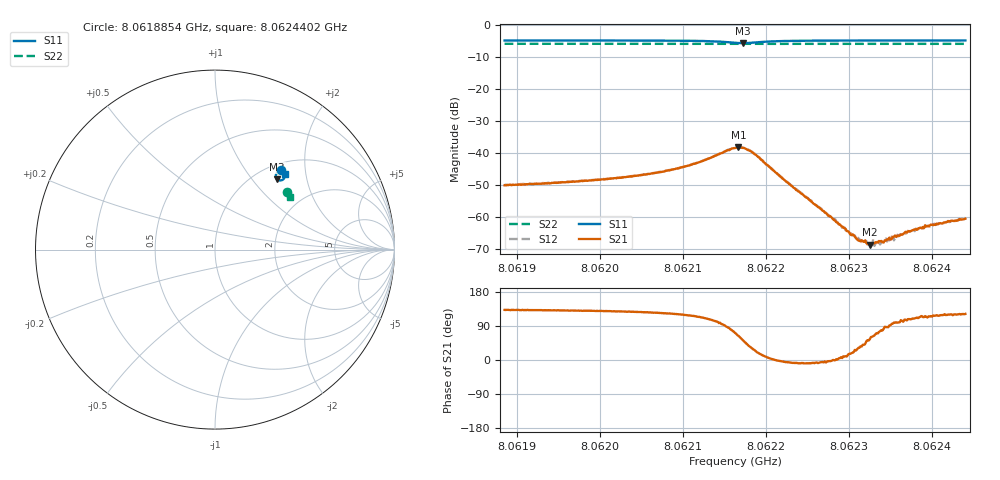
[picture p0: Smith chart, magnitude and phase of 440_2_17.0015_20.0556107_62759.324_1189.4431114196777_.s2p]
#  HZ  S  RI  R  50.00
! Rohde & Schwarz Vector Network Analyzer
! Rohde-Schwarz,ZNB20-2Port,1311601062101988,3.16
! Created: UTC 3/20/2024, 11:11:49 PM
! freq[Hz]  re:S11  im:S11  re:S21  im:S21  re:S12  im:S12  re:S22  im:S22
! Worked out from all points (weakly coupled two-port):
!   401 points, 8.0618854 GHz to 8.0624402 GHz, reference 50 ohm
!   highest |S21| = -38.19 dB at 8.062167 GHz (marker M1); lowest = -68.6 dB at 8.0623251 GHz (marker M2)
!   lowest |S11| = -5.6 dB at 8.0621725 GHz (marker M3), VSWR 3.19, Z = 62.6 + j67.5 ohm
!   |S11| at or under -10 dB: nowhere
!   |S22| runs from -5.9 to -5.8 dB; largest |S21 - S12| = 0.0009
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8.06188539e9  0.3696 0.4419  -0.00213 0.00234  -0.00201 0.0025  0.3997 0.3183
8.06197832e9  0.3764 0.4357  -0.00238 0.00284  -0.0022 0.00299  0.4031 0.3135
8.06202132e9  0.3799 0.4319  -0.00256 0.00323  -0.00238 0.00343  0.4046 0.3112
8.06207125e9  0.3845 0.4258  -0.00285 0.00417  -0.00261 0.00439  0.4065 0.3083
8.06211702e9  0.3886 0.4135  -0.00293 0.00641  -0.00254 0.00665  0.4081 0.3057
8.06216279e9  0.3637 0.3852  0.00379 0.0114  0.00452 0.0114  0.4082 0.3028
8.06216695e9  0.3562 0.3863  0.00545 0.011  0.00611 0.0108  0.4079 0.3026
8.0621725e9  0.3469 0.3915  0.00743 0.00953  0.00805 0.00917  0.4077 0.3027
8.06217944e9  0.3398 0.4026  0.00887 0.00667  0.00931 0.00633  0.4078 0.303
8.06218914e9  0.3399 0.4182  0.00856 0.00323  0.00869 0.00289  0.4084 0.3031
8.06222382e9  0.3611 0.4354  0.00365 -0.000361  0.00366 -0.000591  0.4109 0.302
8.06225572e9  0.3718 0.4345  0.0017 -0.000233  0.00173 -0.000344  0.4123 0.3004
8.0623112e9  0.3808 0.4306  0.000371 0.00023  0.000442 0.00018  0.4145 0.2974
8.06231536e9  0.3814 0.4302  0.000356 0.000257  0.000339 0.000227  0.4146 0.297
8.06232507e9  0.3826 0.4297  0.000214 0.000304  0.000257 0.000323  0.415 0.2967
8.06232646e9  0.3826 0.4295  0.000187 0.000331  0.000196 0.000295  0.415 0.2964
8.06233755e9  0.3837 0.4287  0.000101 0.000409  7.35e-05 0.000369  0.4155 0.296
8.06234172e9  0.3842 0.4285  5.6e-05 0.000399  8.21e-05 0.000405  0.4156 0.2958
8.06234865e9  0.3848 0.428  -9.51e-06 0.00048  3.33e-05 0.000445  0.4158 0.2955
8.06236391e9  0.3862 0.427  -0.000123 0.000523  -6.95e-05 0.000525  0.4163 0.2947
8.06239303e9  0.3886 0.4252  -0.000293 0.000653  -0.000259 0.000684  0.4174 0.2931
8.06244019e9  0.3921 0.4223  -0.0005 0.00081  -0.000451 0.000867  0.419 0.2905
